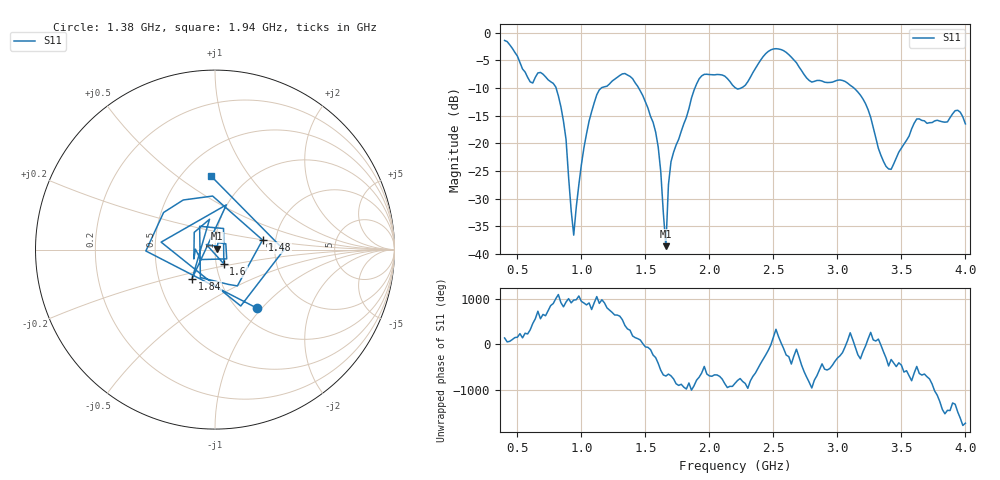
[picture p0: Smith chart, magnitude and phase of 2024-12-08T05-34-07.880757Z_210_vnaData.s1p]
!Created with skrf (http://scikit-rf.org).
# Hz S RI R 50.0
!freq ReS11 ImS11
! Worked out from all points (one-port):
!   181 points, 400 MHz to 4 GHz, reference 50 ohm
!   lowest |S11| = -38.6 dB at 1.66 GHz (marker M1), VSWR 1.02, Z = 51.1 + j0.492 ohm
!   |S11| at or under -10 dB: 802.6 MHz to 1.155 GHz (352 MHz wide, 36 % of centre); 1.448 GHz to 1.886 GHz (438.6 MHz wide, 26.3 % of centre); 3.13 GHz to end of sweep (the widest 3 of 4)
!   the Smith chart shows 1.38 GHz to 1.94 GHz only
!   S11 on the Smith chart (normalised r, x): 1.38 GHz: 1.21, -0.95; 1.48 GHz: 1.71, +0.20; 1.6 GHz: 1.09, -0.17; 1.84 GHz: 0.74, -0.25; 1.94 GHz: 0.69, +0.68
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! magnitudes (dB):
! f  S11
! 400 MHz  -1.4
! 600 MHz  -8.9
! 780 MHz  -9.1
! 860 MHz  -16.0
! 940 MHz  -36.6
! 1 GHz  -23.8
! 1.08 GHz  -14.2
! 1.3 GHz  -7.7
! 1.38 GHz  -7.9
! 1.48 GHz  -11.4
! 1.6 GHz  -20.6
! 1.66 GHz  -38.6
! 1.68 GHz  -27.5
! 1.7 GHz  -23.3
! 1.76 GHz  -19.2
! 1.84 GHz  -13.7
! 1.94 GHz  -7.8
! 2.2 GHz  -9.9
! 2.48 GHz  -3.1
! 2.66 GHz  -4.9
! 2.8 GHz  -8.9
! 3.1 GHz  -9.5
! 3.22 GHz  -12.8
! 3.4 GHz  -24.6
! 3.56 GHz  -18.7
! 3.62 GHz  -15.6
! 3.94 GHz  -14.0
! 4 GHz  -16.5
